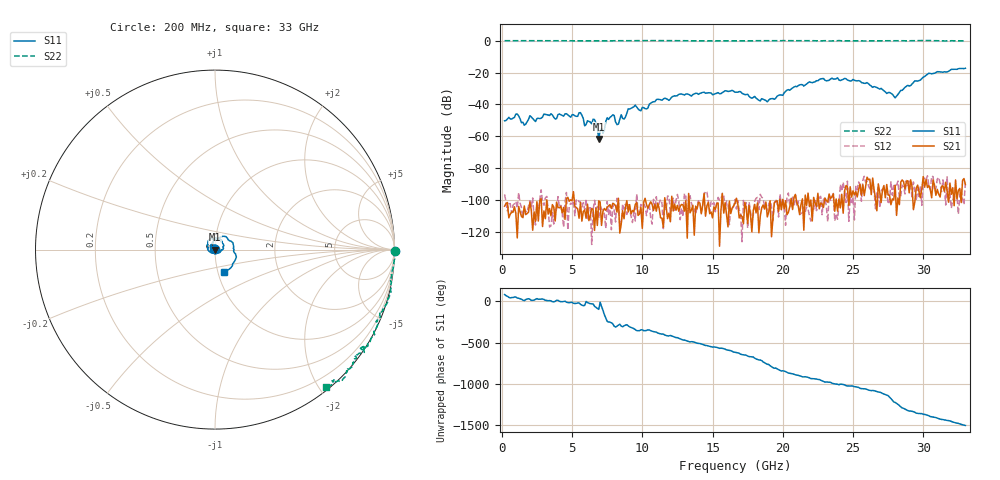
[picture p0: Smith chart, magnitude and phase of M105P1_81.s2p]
# GHZ S RI R 50
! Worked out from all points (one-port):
!   329 points, 200 MHz to 33 GHz, reference 50 ohm
!   lowest |S11| = -61.7 dB at 6.9 GHz (marker M1), VSWR 1.00, Z = 50 - j0.0816 ohm
!   |S11| at or under -10 dB: start of sweep to end of sweep
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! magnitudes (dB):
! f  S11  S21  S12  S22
! 200 MHz  -50.3  -103.9  -96.5  0.0
! 1 GHz  -46.1  -108.4  -100.8  0.0
! 1.6 GHz  -53.1  -103.7  -105.5  0.0
! 2 GHz  -47.1  -101.4  -100.5  0.0
! 2.4 GHz  -50.7  -113.4  -115.7  0.0
! 5.7 GHz  -46.8  -113.3  -104.5  -0.1
! 5.9 GHz  -53.4  -106.3  -106.0  -0.1
! 6.6 GHz  -49.5  -119.1  -100.2  -0.1
! 6.9 GHz  -61.7  -100.5  -111.6  -0.1
! 7.5 GHz  -48.4  -104.6  -100.9  -0.1
! 8 GHz  -47.0  -102.6  -106.4  0.0
! 8.3 GHz  -52.4  -98.9  -101.6  0.0
! 9 GHz  -42.8  -107.5  -102.0  0.0
! 11.2 GHz  -36.9  -105.2  -101.9  0.0
! 16.6 GHz  -32.3  -101.9  -99.8  -0.1
! 18.9 GHz  -38.4  -110.6  -106.7  0.0
! 22.1 GHz  -26.3  -113.2  -106.2  0.0
! 25 GHz  -24.4  -94.3  -98.4  -0.1
! 27.6 GHz  -32.5  -97.1  -100.6  0.0
! 28 GHz  -35.9  -90.7  -91.6  0.0
! 30.4 GHz  -20.5  -91.0  -91.4  0.1
! 33 GHz  -17.3  -90.3  -88.3  -0.1
